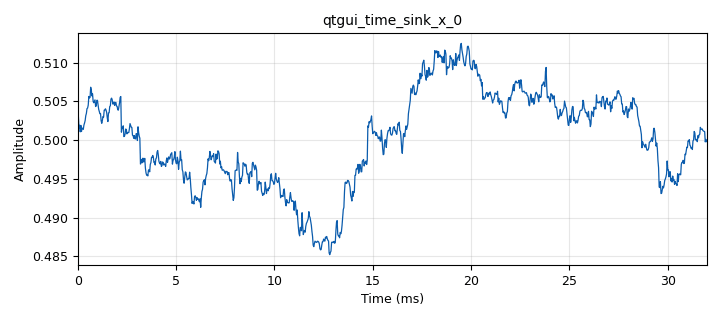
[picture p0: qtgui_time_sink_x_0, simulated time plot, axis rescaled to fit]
<?xml version='1.0' encoding='utf-8'?>
<?grc format='1' created='3.8.git'?>
<flow_graph>
<block>
<key>options</key>
<param><key>id</key><value>top_block</value></param>
<param><key>category</key><value>Custom</value></param>
<param><key>generate_options</key><value>qt_gui</value></param>
</block>
<block>
<key>variable</key>
<param><key>id</key><value>samp_rate</value></param>
<param><key>value</key><value>32000</value></param>
</block>
<block>
<key>analog_sig_source_x</key>
<param><key>id</key><value>analog_sig_source_x_0</value></param>
<param><key>amp</key><value>0</value></param>
<param><key>freq</key><value>1000</value></param>
<param><key>offset</key><value>0</value></param>
<param><key>type</key><value>complex</value></param>
<param><key>samp_rate</key><value>samp_rate</value></param>
<param><key>waveform</key><value>analog.GR_COS_WAVE</value></param>
</block>
<block>
<key>blocks_complex_to_mag_squared</key>
<param><key>id</key><value>blocks_complex_to_mag_squared_0</value></param>
</block>
<block>
<key>blocks_moving_average_xx</key>
<param><key>id</key><value>blocks_moving_average_xx_0</value></param>
<param><key>length</key><value>1000</value></param>
<param><key>max_iter</key><value>4000</value></param>
<param><key>scale</key><value>1.0/1000</value></param>
<param><key>type</key><value>float</value></param>
</block>
<block>
<key>blocks_throttle</key>
<param><key>id</key><value>blocks_throttle_0</value></param>
<param><key>samples_per_second</key><value>samp_rate</value></param>
<param><key>type</key><value>complex</value></param>
</block>
<block>
<key>channels_channel_model</key>
<param><key>id</key><value>channels_channel_model_0</value></param>
<param><key>epsilon</key><value>1.0</value></param>
<param><key>freq_offset</key><value>0</value></param>
<param><key>noise_voltage</key><value>.5**.5</value></param>
<param><key>seed</key><value>0</value></param>
<param><key>taps</key><value>1.0</value></param>
</block>
<block>
<key>qtgui_time_sink_x</key>
<param><key>id</key><value>qtgui_time_sink_x_0</value></param>
<param><key>color1</key><value>"blue"</value></param>
<param><key>label1</key><value></value></param>
<param><key>size</key><value>1024</value></param>
<param><key>srate</key><value>samp_rate</value></param>
<param><key>type</key><value>float</value></param>
</block>
<connection><source_block_id>analog_sig_source_x_0</source_block_id><sink_block_id>blocks_throttle_0</sink_block_id><source_key>0</source_key><sink_key>0</sink_key></connection>
<connection><source_block_id>blocks_complex_to_mag_squared_0</source_block_id><sink_block_id>blocks_moving_average_xx_0</sink_block_id><source_key>0</source_key><sink_key>0</sink_key></connection>
<connection><source_block_id>blocks_moving_average_xx_0</source_block_id><sink_block_id>qtgui_time_sink_x_0</sink_block_id><source_key>0</source_key><sink_key>0</sink_key></connection>
<connection><source_block_id>blocks_throttle_0</source_block_id><sink_block_id>channels_channel_model_0</sink_block_id><source_key>0</source_key><sink_key>0</sink_key></connection>
<connection><source_block_id>channels_channel_model_0</source_block_id><sink_block_id>blocks_complex_to_mag_squared_0</sink_block_id><source_key>0</source_key><sink_key>0</sink_key></connection>
</flow_graph>
